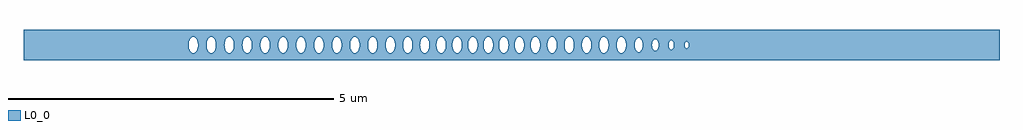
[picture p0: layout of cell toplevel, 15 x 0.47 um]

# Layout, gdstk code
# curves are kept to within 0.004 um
import gdstk
lib = gdstk.Library(unit=1e-6, precision=1e-09)
def P(c, l, *ps):  # polygons
    for p in ps: c.add(gdstk.Polygon(p, *l))
L0_0 = (0, 0)

toplevel = lib.new_cell('toplevel')
P(toplevel, L0_0, [(-4.41,0.016),(-4.397,0.075),(-4.369,0.115),(-4.369,0.234),(-7.5,0.234),(-7.5,-0.016),(-4.962,-0.016),(-4.959,0.039),(-4.946,0.081),(-4.925,0.112),(-4.89,0.128),(-4.863,0.119),(-4.84,0.093),(-4.822,0.047),(-4.818,-0.016),(-4.686,-0.016),(-4.684,0.032),(-4.673,0.075),(-4.649,0.112),(-4.614,0.128),(-4.587,0.119),(-4.564,0.093),(-4.548,0.054),(-4.542,0.016),(-4.544,-0.032),(-4.555,-0.075),(-4.579,-0.112),(-4.614,-0.128),(-4.641,-0.119),(-4.664,-0.093),(-4.686,-0.016),(-4.818,-0.016),(-4.822,-0.047),(-4.84,-0.093),(-4.863,-0.119),(-4.89,-0.128),(-4.916,-0.119),(-4.936,-0.098),(-4.951,-0.068),(-4.962,-0.016),(-7.5,-0.016),(-7.5,-0.234),(-4.369,-0.234),(-4.369,-0.115),(-4.388,-0.093),(-4.402,-0.061)],
  [(-4.361,0.121),(-4.338,0.128),(-4.299,0.108),(-4.282,0.081),(-4.271,0.047),(-4.266,-0.008),(-4.135,-0.008),(-4.13,0.047),(-4.109,0.098),(-4.085,0.121),(-4.062,0.128),(-4.049,0.125),(-4.024,0.108),(-4.004,0.075),(-3.992,0.032),(-3.99,-0.008),(-3.995,-0.047),(-4.013,-0.093),(-4.036,-0.119),(-4.062,-0.128),(-4.089,-0.119),(-4.109,-0.098),(-4.124,-0.068),(-4.135,-0.008),(-4.266,-0.008),(-4.277,-0.068),(-4.299,-0.108),(-4.338,-0.128),(-4.369,-0.115),(-4.369,-0.234),(-3.756,-0.234),(-3.756,-0.115),(-3.787,-0.128),(-3.822,-0.112),(-3.848,-0.068),(-3.859,-0.008),(-3.848,0.068),(-3.822,0.112),(-3.787,0.128),(-3.756,0.115),(-3.756,0.234),(-4.369,0.234),(-4.369,0.115)],
  [(-3.307,0.016),(-3.301,0.054),(-3.285,0.093),(-3.27,0.112),(-3.249,0.125),(-3.235,0.128),(-3.208,0.119),(-3.189,0.098),(-3.174,0.068),(-3.174,0.234),(-3.756,0.234),(-3.756,0.115),(-3.74,0.098),(-3.723,0.061),(-3.715,-0.016),(-3.583,-0.016),(-3.58,0.039),(-3.567,0.081),(-3.538,0.119),(-3.511,0.128),(-3.484,0.119),(-3.461,0.093),(-3.445,0.054),(-3.438,0),(-3.445,-0.054),(-3.461,-0.093),(-3.484,-0.119),(-3.511,-0.128),(-3.538,-0.119),(-3.557,-0.098),(-3.572,-0.068),(-3.583,-0.016),(-3.715,-0.016),(-3.728,-0.075),(-3.756,-0.115),(-3.756,-0.234),(-3.174,-0.234),(-3.174,-0.068),(-3.189,-0.098),(-3.208,-0.119),(-3.235,-0.128),(-3.262,-0.119),(-3.285,-0.093),(-3.299,-0.061)],
  [(-3.165,-0.032),(-3.174,-0.068),(-3.174,-0.234),(-2.454,-0.234),(-2.454,-0.098),(-2.469,-0.068),(-2.48,-0.016),(-2.477,0.039),(-2.454,0.098),(-2.454,0.234),(-3.174,0.234),(-3.174,0.067),(-3.163,-0.008),(-3.032,-0.008),(-3.027,0.047),(-3.009,0.093),(-2.986,0.119),(-2.959,0.128),(-2.933,0.119),(-2.91,0.093),(-2.89,0.039),(-2.887,-0.008),(-2.756,-0.008),(-2.751,0.047),(-2.73,0.098),(-2.697,0.125),(-2.684,0.128),(-2.657,0.119),(-2.637,0.098),(-2.622,0.068),(-2.611,-0.008),(-2.616,-0.047),(-2.634,-0.093),(-2.649,-0.112),(-2.67,-0.125),(-2.702,-0.123),(-2.73,-0.098),(-2.745,-0.068),(-2.756,-0.008),(-2.887,-0.008),(-2.892,-0.047),(-2.91,-0.093),(-2.933,-0.119),(-2.959,-0.128),(-2.986,-0.119),(-3.009,-0.093),(-3.027,-0.047),(-3.032,-0.008),(-3.163,-0.008)],
  [(-2.447,0.108),(-2.408,0.128),(-2.381,0.119),(-2.369,0.108),(-2.34,0.047),(-2.336,-0.016),(-2.205,-0.016),(-2.202,0.039),(-2.186,0.087),(-2.16,0.119),(-2.133,0.128),(-2.119,0.125),(-2.094,0.108),(-2.074,0.075),(-2.06,0),(-2.067,-0.054),(-2.083,-0.093),(-2.106,-0.119),(-2.133,-0.128),(-2.16,-0.119),(-2.179,-0.098),(-2.194,-0.068),(-2.205,-0.016),(-2.336,-0.016),(-2.349,-0.075),(-2.381,-0.119),(-2.408,-0.128),(-2.421,-0.125),(-2.454,-0.098),(-2.454,-0.234),(-1.874,-0.234),(-1.874,-0.125),(-1.896,-0.112),(-1.914,-0.087),(-1.933,-0.016),(-1.93,0.039),(-1.917,0.081),(-1.9,0.108),(-1.874,0.125),(-1.874,0.234),(-2.454,0.234),(-2.454,0.098)],
  [(-1.406,0.016),(-1.393,0.075),(-1.361,0.119),(-1.334,0.128),(-1.295,0.108),(-1.295,0.234),(-1.874,0.234),(-1.874,0.125),(-1.861,0.128),(-1.834,0.119),(-1.811,0.093),(-1.795,0.054),(-1.789,-0.008),(-1.667,-0.008),(-1.662,0.047),(-1.644,0.093),(-1.621,0.119),(-1.594,0.128),(-1.568,0.119),(-1.548,0.098),(-1.533,0.068),(-1.522,0.016),(-1.525,-0.039),(-1.538,-0.081),(-1.559,-0.112),(-1.594,-0.128),(-1.621,-0.119),(-1.644,-0.093),(-1.662,-0.047),(-1.667,-0.008),(-1.789,-0.008),(-1.797,-0.061),(-1.818,-0.103),(-1.847,-0.125),(-1.874,-0.125),(-1.874,-0.234),(-1.295,-0.234),(-1.295,-0.108),(-1.334,-0.128),(-1.361,-0.119),(-1.373,-0.108),(-1.402,-0.047)],
  [(-1.264,-0.032),(-1.278,-0.081),(-1.295,-0.108),(-1.295,-0.234),(-0.663,-0.234),(-0.663,0.234),(-1.295,0.234),(-1.295,0.108),(-1.278,0.081),(-1.267,0.047),(-1.262,-0.008),(-1.154,-0.008),(-1.149,0.047),(-1.131,0.093),(-1.108,0.119),(-1.081,0.128),(-1.055,0.119),(-1.028,0.087),(-1.012,0.039),(-1.009,-0.016),(-0.907,-0.016),(-0.902,0.047),(-0.894,0.075),(-0.874,0.108),(-0.862,0.119),(-0.835,0.128),(-0.808,0.119),(-0.785,0.093),(-0.771,0.061),(-0.763,-0.016),(-0.769,-0.054),(-0.785,-0.093),(-0.8,-0.112),(-0.821,-0.125),(-0.849,-0.125),(-0.874,-0.108),(-0.894,-0.075),(-0.907,-0.016),(-1.009,-0.016),(-1.02,-0.068),(-1.035,-0.098),(-1.055,-0.119),(-1.081,-0.128),(-1.108,-0.119),(-1.131,-0.093),(-1.149,-0.047),(-1.154,-0.008),(-1.262,-0.008)],
  [(-0.663,-0.234),(-0.165,-0.234),(-0.165,-0.098),(-0.18,-0.068),(-0.191,-0.008),(-0.186,0.047),(-0.165,0.098),(-0.165,0.234),(-0.663,0.234),(-0.663,0.039),(-0.65,0.081),(-0.633,0.108),(-0.607,0.125),(-0.58,0.125),(-0.555,0.108),(-0.535,0.075),(-0.525,0.039),(-0.522,-0.016),(-0.428,-0.016),(-0.425,0.039),(-0.412,0.081),(-0.391,0.112),(-0.356,0.128),(-0.329,0.119),(-0.306,0.093),(-0.29,0.054),(-0.283,0),(-0.29,-0.054),(-0.306,-0.093),(-0.329,-0.119),(-0.356,-0.128),(-0.382,-0.119),(-0.402,-0.098),(-0.417,-0.068),(-0.428,-0.016),(-0.522,-0.016),(-0.53,-0.062),(-0.544,-0.093),(-0.567,-0.119),(-0.594,-0.128),(-0.621,-0.119),(-0.633,-0.108),(-0.65,-0.081),(-0.663,-0.04)],
  [(-0.153,0.112),(-0.119,0.128),(-0.092,0.119),(-0.08,0.108),(-0.057,0.068),(-0.046,0),(0.048,0),(0.055,0.054),(0.071,0.093),(0.094,0.119),(0.121,0.128),(0.134,0.125),(0.16,0.108),(0.177,0.081),(0.19,0.039),(0.193,-0.016),(0.182,-0.068),(0.167,-0.098),(0.148,-0.119),(0.121,-0.128),(0.094,-0.119),(0.071,-0.093),(0.055,-0.054),(0.048,0),(-0.046,0),(-0.057,-0.068),(-0.072,-0.098),(-0.092,-0.119),(-0.119,-0.128),(-0.132,-0.125),(-0.165,-0.098),(-0.165,-0.234),(0.358,-0.234),(0.358,-0.126),(0.341,-0.119),(0.318,-0.093),(0.3,-0.047),(0.295,-0.008),(0.297,0.032),(0.309,0.075),(0.329,0.108),(0.358,0.126),(0.358,0.234),(-0.165,0.234),(-0.165,0.098)],
  [(0.818,0.032),(0.835,0.087),(0.853,0.112),(0.875,0.125),(0.888,0.128),(0.915,0.119),(0.947,0.075),(0.947,0.234),(0.358,0.234),(0.358,0.126),(0.394,0.119),(0.417,0.093),(0.435,0.047),(0.439,-0.016),(0.552,-0.016),(0.555,0.039),(0.568,0.081),(0.589,0.112),(0.624,0.128),(0.651,0.119),(0.674,0.093),(0.692,0.047),(0.697,0),(0.692,-0.047),(0.674,-0.093),(0.651,-0.119),(0.624,-0.128),(0.598,-0.119),(0.578,-0.098),(0.563,-0.068),(0.552,-0.016),(0.439,-0.016),(0.429,-0.068),(0.414,-0.098),(0.394,-0.119),(0.358,-0.126),(0.358,-0.234),(0.947,-0.234),(0.947,-0.075),(0.915,-0.119),(0.888,-0.128),(0.861,-0.119),(0.835,-0.087),(0.821,-0.047)],
  [(1.619,0.032),(1.631,0.074),(1.631,0.234),(0.947,0.234),(0.947,0.074),(0.957,0.039),(0.96,-0.016),(1.082,-0.016),(1.085,0.039),(1.098,0.081),(1.119,0.112),(1.154,0.128),(1.181,0.119),(1.204,0.093),(1.222,0.047),(1.226,-0.016),(1.348,-0.016),(1.351,0.039),(1.362,0.075),(1.385,0.112),(1.42,0.128),(1.447,0.119),(1.47,0.093),(1.488,0.047),(1.493,0.008),(1.488,-0.047),(1.47,-0.093),(1.447,-0.119),(1.42,-0.128),(1.394,-0.119),(1.374,-0.098),(1.359,-0.068),(1.348,-0.016),(1.226,-0.016),(1.222,-0.047),(1.204,-0.093),(1.181,-0.119),(1.154,-0.128),(1.128,-0.119),(1.108,-0.098),(1.093,-0.068),(1.082,-0.016),(0.96,-0.016),(0.947,-0.075),(0.947,-0.234),(1.631,-0.234),(1.631,-0.075),(1.617,-0.016)],
  [(1.633,0.081),(1.662,0.119),(1.689,0.128),(1.703,0.125),(1.728,0.108),(1.748,0.075),(1.762,0),(1.893,0),(1.899,0.047),(1.913,0.08),(1.936,0.104),(1.963,0.109),(1.986,0.096),(2.004,0.07),(2.015,0.034),(2.018,-0.007),(2.004,-0.07),(1.986,-0.096),(1.963,-0.109),(1.936,-0.104),(1.913,-0.08),(1.899,-0.047),(1.893,0),(1.762,0),(1.748,-0.075),(1.728,-0.108),(1.703,-0.125),(1.689,-0.128),(1.662,-0.119),(1.631,-0.075),(1.631,-0.234),(2.204,-0.234),(2.204,-0.091),(2.175,-0.067),(2.159,-0.011),(2.169,0.054),(2.18,0.074),(2.204,0.091),(2.204,0.234),(1.631,0.234)],
  [(2.211,0.092),(2.233,0.083),(2.247,0.067),(2.257,0.044),(2.263,-0.005),(2.413,-0.005),(2.423,0.047),(2.437,0.067),(2.458,0.074),(2.48,0.06),(2.491,0.039),(2.496,-0.01),(2.661,-0.01),(2.668,0.036),(2.69,0.056),(2.704,0.052),(2.717,0.036),(2.724,-0.007),(2.714,-0.041),(2.694,-0.056),(2.672,-0.043),(2.661,-0.01),(2.496,-0.01),(2.491,-0.039),(2.48,-0.06),(2.453,-0.074),(2.437,-0.067),(2.427,-0.054),(2.413,-0.005),(2.263,-0.005),(2.247,-0.067),(2.224,-0.089),(2.204,-0.091),(2.204,-0.234),(7.5,-0.234),(7.5,0.234),(2.204,0.234),(2.204,0.091)])

lib.write_gds('toplevel.gds')
